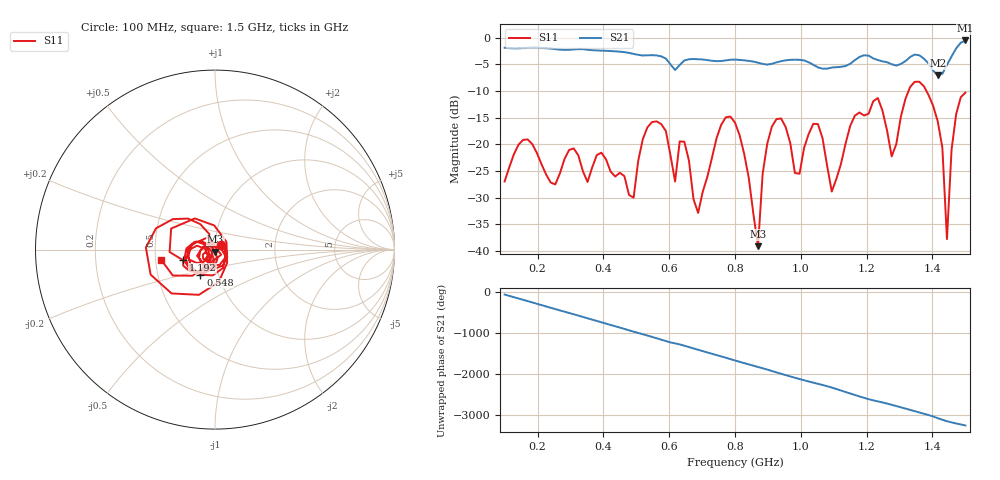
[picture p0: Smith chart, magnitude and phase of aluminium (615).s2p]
! NanoVNA-App
! Date: 2025-09-25 15:00:04
! Start: 100MHz Stop: 1,5GHz Points: 101
! S-Parameter data: F S11 S21 S12 S22
# Hz S RI R 50
!  Frequency  S11_Real  S11_Imag  S21_Real  S21_Imag  S12_Real  S12_Imag  S22_Real  S22_Imag
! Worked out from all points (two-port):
!   101 points, 100 MHz to 1.5 GHz, reference 50 ohm
!   highest |S21| = -0.55 dB at 1.5 GHz (marker M1); lowest = -7.1 dB at 1.416 GHz (marker M2)
!   |S21| within 3 dB of the highest: start of sweep to 576.6 MHz; 1.458 GHz to end of sweep (the widest 2 of 4)
!   lowest |S11| = -39.1 dB at 870 MHz (marker M3), VSWR 1.02, Z = 50.1 - j1.11 ohm
!   |S11| at or under -10 dB: start of sweep to 1.327 GHz; 1.381 GHz to end of sweep
!   S12 and S22 are empty: the file has one direction only
!   S11 on the Smith chart (normalised r, x): 100 MHz: 1.07, +0.06; 548 MHz: 0.82, -0.24; 1.192 GHz: 0.70, -0.08; 1.5 GHz: 0.54, -0.07
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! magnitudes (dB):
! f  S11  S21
! 100 MHz  -27.0  -1.9
! 156 MHz  -19.2  -2.0
! 338 MHz  -25.1  -2.2
! 492 MHz  -30.0  -3.1
! 548 MHz  -15.8  -3.3
! 576 MHz  -16.2  -3.5
! 646 MHz  -19.5  -4.3
! 688 MHz  -32.8  -4.1
! 800 MHz  -15.9  -4.1
! 870 MHz  -39.1  -4.7
! 912 MHz  -16.7  -4.9
! 996 MHz  -25.5  -4.2
! 1.038 GHz  -16.2  -5.1
! 1.094 GHz  -28.8  -5.6
! 1.192 GHz  -14.6  -3.3
! 1.234 GHz  -11.3  -4.2
! 1.276 GHz  -22.3  -5.0
! 1.346 GHz  -8.3  -3.2
! 1.416 GHz  -15.7  -7.1
! 1.444 GHz  -37.7  -5.1
! 1.458 GHz  -21.0  -3.6
! 1.5 GHz  -10.3  -0.6
